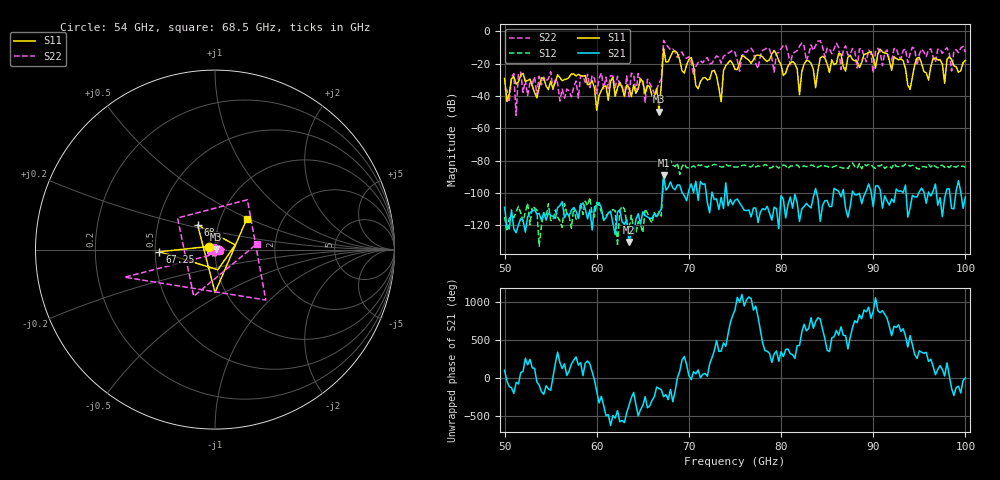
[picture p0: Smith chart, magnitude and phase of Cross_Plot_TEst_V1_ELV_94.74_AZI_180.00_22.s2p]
! 11/25/2026 1:26:00 PM
! C:\ANRITSUVNA\TEMP\TEMP.S2P
! CHANNEL.1
! TR.MEASUREMENT
! RAW.DATA
# HZ S RI R 50.0
! FREQ.HZ  S11RE  S11IM  S21RE  S21IM  S12RE  S12IM  S22RE  S22IM
!; PortSelection: Port_12
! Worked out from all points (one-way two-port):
!   201 points, 50 GHz to 100 GHz, reference 50 ohm
!   highest |S21| = -89.22 dB at 67.25 GHz (marker M1); lowest = -130.5 dB at 63.5 GHz (marker M2)
!   lowest |S11| = -49.7 dB at 66.75 GHz (marker M3), VSWR 1.01, Z = 50.3 + j0.0725 ohm
!   |S11| at or under -10 dB: start of sweep to end of sweep
!   |S22| runs from -52.0 to -5.6 dB; largest |S21 - S12| = 0.00012
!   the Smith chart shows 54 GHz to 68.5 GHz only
!   S11 on the Smith chart (normalised r, x): 54 GHz: 0.93, +0.03; 67.25 GHz: 0.53, -0.01; 68 GHz: 0.80, +0.22; 68.5 GHz: 1.33, +0.49
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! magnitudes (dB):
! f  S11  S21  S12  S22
! 50 GHz  -29.1  -108.9  -114.9  -35.7
! 51 GHz  -27.9  -122.4  -115.3  -26.1
! 51.25 GHz  -32.6  -124.7  -111.8  -52.0
! 51.5 GHz  -31.2  -119.8  -108.4  -25.7
! 54 GHz  -28.7  -117.1  -120.0  -33.0
! 58.5 GHz  -27.7  -106.2  -113.4  -27.7
! 60 GHz  -48.8  -107.5  -105.9  -38.6
! 63.5 GHz  -34.8  -130.5  -122.4  -40.4
! 66.75 GHz  -49.7  -112.6  -111.6  -31.9
! 67.25 GHz  -10.2  -89.2  -88.3  -5.6
! 68 GHz  -15.5  -93.3  -79.8  -11.3
! 68.5 GHz  -12.1  -98.1  -83.8  -12.6
! 73.5 GHz  -43.5  -102.8  -84.0  -19.7
! 73.75 GHz  -24.4  -109.7  -83.9  -15.4
! 75 GHz  -23.5  -104.6  -84.0  -13.0
! 79.25 GHz  -11.8  -108.8  -82.8  -25.2
! 82 GHz  -39.2  -117.7  -84.3  -9.1
! 83.5 GHz  -23.5  -102.7  -82.9  -11.8
! 91.75 GHz  -18.1  -107.6  -83.6  -17.6
! 94 GHz  -35.8  -109.4  -83.5  -13.7
! 94.75 GHz  -16.5  -102.4  -85.0  -20.9
! 100 GHz  -17.9  -102.5  -84.2  -12.8
